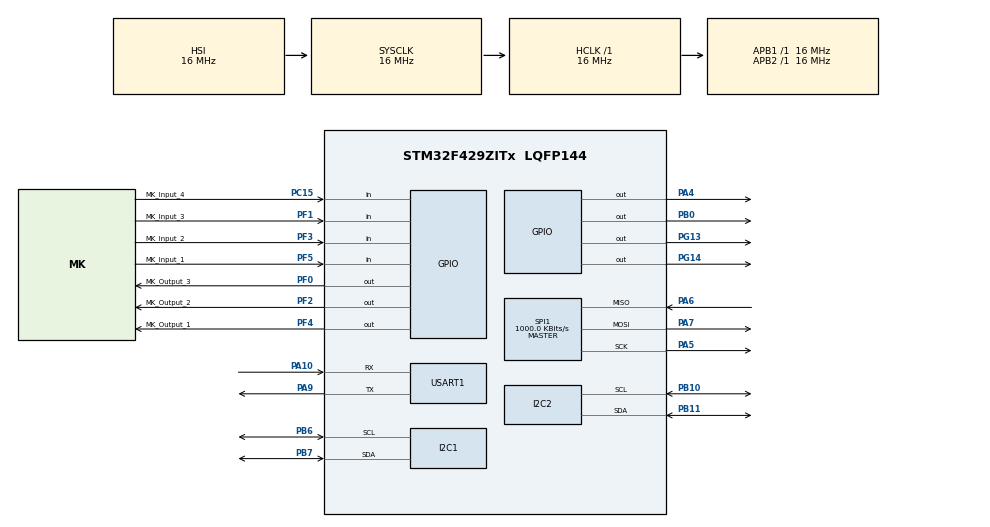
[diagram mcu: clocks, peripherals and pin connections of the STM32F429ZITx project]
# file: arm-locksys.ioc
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I2C1.I2C_Mode=I2C_Standard
Mcu.Family=STM32F4
Mcu.Name=STM32F429ZITx
Mcu.Package=LQFP144
NVIC.PriorityGroup=NVIC_PRIORITYGROUP_4
NVIC.SPI1_IRQn=true\:0\:0\:false\:false\:true\:true\:true\:true
NVIC.USART1_IRQn=true\:0\:0\:false\:false\:true\:true\:true\:true
PA10.Mode=Asynchronous
PA10.Signal=USART1_RX
PA13.Mode=Serial_Wire
PA13.Signal=SYS_JTMS-SWDIO
PA14.Mode=Serial_Wire
PA14.Signal=SYS_JTCK-SWCLK
PA4.Signal=GPIO_Output
PA5.Mode=Full_Duplex_Master
PA5.Signal=SPI1_SCK
PA6.Mode=Full_Duplex_Master
PA6.Signal=SPI1_MISO
PA7.Mode=Full_Duplex_Master
PA7.Signal=SPI1_MOSI
PA9.Mode=Asynchronous
PA9.Signal=USART1_TX
PB0.Signal=GPIO_Output
PB10.Mode=I2C
PB10.Signal=I2C2_SCL
PB11.Mode=I2C
PB11.Signal=I2C2_SDA
PB6.Mode=I2C
PB6.Signal=I2C1_SCL
PB7.Mode=I2C
PB7.Signal=I2C1_SDA
PC15/OSC32_OUT.GPIO_Label=MK_Input_4
PC15/OSC32_OUT.GPIO_PuPd=GPIO_PULLDOWN
PC15/OSC32_OUT.Signal=GPIO_Input
PF0.GPIO_Label=MK_Output_3
PF0.GPIO_PuPd=GPIO_NOPULL
PF0.GPIO_Speed=GPIO_SPEED_FREQ_VERY_HIGH
PF0.Signal=GPIO_Output
PF1.GPIO_Label=MK_Input_3
PF1.GPIO_PuPd=GPIO_PULLDOWN
PF1.Signal=GPIO_Input
PF2.GPIO_Label=MK_Output_2
PF2.GPIO_PuPd=GPIO_NOPULL
PF2.GPIO_Speed=GPIO_SPEED_FREQ_VERY_HIGH
PF2.Signal=GPIO_Output
PF3.GPIO_Label=MK_Input_2
PF3.GPIO_PuPd=GPIO_PULLDOWN
PF3.Signal=GPIO_Input
PF4.GPIO_Label=MK_Output_1
PF4.GPIO_PuPd=GPIO_NOPULL
PF4.GPIO_Speed=GPIO_SPEED_FREQ_VERY_HIGH
PF4.PinState=GPIO_PIN_RESET
PF4.Signal=GPIO_Output
PF5.GPIO_Label=MK_Input_1
PF5.GPIO_PuPd=GPIO_PULLDOWN
PF5.Signal=GPIO_Input
PG13.Signal=GPIO_Output
PG14.Signal=GPIO_Output
PH0/OSC_IN.Mode=HSE-External-Oscillator
PH0/OSC_IN.Signal=RCC_OSC_IN
PH1/OSC_OUT.Mode=HSE-External-Oscillator
PH1/OSC_OUT.Signal=RCC_OSC_OUT
ProjectManager.HeapSize=0x200
ProjectManager.StackSize=0x400
ProjectManager.TargetToolchain=STM32CubeIDE
RCC.AHBFreq_Value=16000000
RCC.APB1Freq_Value=16000000
RCC.APB2Freq_Value=16000000
RCC.CortexFreq_Value=16000000
RCC.HSE_VALUE=25000000
RCC.HSI_VALUE=16000000
RCC.LSE_VALUE=32768
RCC.SYSCLKFreq_VALUE=16000000
RCC.VCOOutputFreq_Value=192000000
SPI1.BaudRatePrescaler=SPI_BAUDRATEPRESCALER_16
SPI1.CalculateBaudRate=1000.0 KBits/s
SPI1.Direction=SPI_DIRECTION_2LINES
SPI1.Mode=SPI_MODE_MASTER
SPI1.VirtualType=VM_MASTER
USART1.VirtualMode=VM_ASYNC
board=custom

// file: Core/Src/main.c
/* USER CODE BEGIN Header */
/**
  ******************************************************************************
  * @file           : main.c
  * @brief          : Main program body
  ******************************************************************************
  * @attention
  *
  * Copyright (c) 2024 STMicroelectronics.
  * All rights reserved.
  *
  * This software is licensed under terms that can be found in the LICENSE file
  * in the root directory of this software component.
  * If no LICENSE file comes with this software, it is provided AS-IS.
  *
  ******************************************************************************
  */
/* USER CODE END Header */
#include "main.h"
#include "i2c.h"
#include "spi.h"
#include "usart.h"
#include "gpio.h"
#include "stm32f4xx_ll_gpio.h"
#include "stm32f4xx_ll_bus.h"

/* USER CODE BEGIN PD */
#define ESCAPE_WHITE   "\033[37m"
#define ESCAPE_GREEN   "\033[32m"
#define ESCAPE_YELLOW  "\033[33m"
#define ESCAPE_RED     "\033[31m"

#define DS3231_ADDRESS 0xD0
#define ESP8266_ADDRESS 0X00

/* USER CODE END PD */

void SystemClock_Config(void);

/* USER CODE BEGIN 0 */

uint8_t tx_data[100] = ESCAPE_GREEN "\n\r<¨¨Locksys¨¨> - " ESCAPE_WHITE __TIME__ ESCAPE_GREEN "\n\r\n\r";
uint8_t spi_RFID[100];
uint8_t last_pin[1] = "e";
uint8_t rx_data[4];
uint8_t code[4] = "1122";
uint8_t code_keypad[4] = "    ";
int code_keypad_index = 0;
uint8_t en_keypad = 1;
uint8_t temperature;
/*
 * Structure for storing and managing the time value read from the RTC module
 */
typedef struct Time {
	uint8_t second;
	uint8_t minute;
	uint8_t hour;
	uint8_t day;
	uint8_t week;
	uint8_t month;
	uint8_t year;
} Time;

struct Time time;

/*
 * Set the current time in rtc module
 */
void set_time(uint8_t sec, uint8_t min, uint8_t h, uint8_t d, uint8_t w, uint8_t m, uint8_t y) {
	uint8_t set[7];
	set[0] = dec_to_bcd(sec);
	set[1] = dec_to_bcd(min);
	set[2] = dec_to_bcd(h);
	set[3] = dec_to_bcd(d);
	set[4] = dec_to_bcd(w);
	set[5] = dec_to_bcd(m);
	set[6] = dec_to_bcd(y);

	HAL_I2C_Mem_Write(&hi2c1, DS3231_ADDRESS, 0x00, 1, set, 7, 1000);
}

/*
 * Get current time from RTC module
 */
void get_time() {
	uint8_t get[7];
	HAL_I2C_Mem_Read(&hi2c1, DS3231_ADDRESS, 0x00, 1, get, 7, 1000);

	uint8_t t[1];
	HAL_I2C_Mem_Read(&hi2c1, DS3231_ADDRESS, 0x11, 1, t, 7, 1000);
	temperature = bcd_to_dec(t[1]);

	time.second = bcd_to_dec(get[1]);
	time.minute = bcd_to_dec(get[2]);
	time.hour = bcd_to_dec(get[3]);
	time.day = bcd_to_dec(get[4]);
	time.week = bcd_to_dec(get[5]);
	time.month = bcd_to_dec(get[6]);
	time.year = bcd_to_dec(get[7]);
}

/* USER CODE END 0 */

int main(void)
{

  /* MCU Configuration--------------------------------------------------------*/

  /* Reset of all peripherals, Initializes the Flash interface and the Systick. */
  HAL_Init();

  /* Configure the system clock */
  SystemClock_Config();

  /* Initialize all configured peripherals */
  MX_GPIO_Init();
  MX_USART1_UART_Init();
  MX_I2C1_Init();
  MX_SPI1_Init();
  MX_I2C2_Init();
  /* USER CODE BEGIN 2 */

  // USART
  HAL_UART_Receive_IT(&huart1, rx_data, sizeof(rx_data));
  HAL_UART_Transmit(&huart1, tx_data, sizeof(tx_data), 1000);

  // RFID
  //uint8_t reset = "15";
  //HAL_SPI_Transmit(&hspi1, &reset, sizeof(reset), 1000);
  uint8_t receive = 8;
  HAL_SPI_Transmit(&hspi1, &receive, sizeof(receive), 1000);

  // LED
  HAL_GPIO_TogglePin(GPIOG, GPIO_PIN_14);

  // RTC
  //set_time(0, 3, 19, 5, 17, 5, 24);

  // Keypad
  HAL_GPIO_WritePin(GPIOF, MK_Output_1_Pin, GPIO_PIN_SET);
  HAL_GPIO_WritePin(GPIOF, MK_Output_2_Pin, GPIO_PIN_SET);
  HAL_GPIO_WritePin(GPIOF, MK_Output_3_Pin, GPIO_PIN_SET);

  /* USER CODE END 2 */

  /* Infinite loop */
  /* USER CODE BEGIN WHILE */
  while (1)
  {
	  if (en_keypad == 1) {	// If enabled, read keypad by polling for a result
		  keypad_read();
	  }

	  get_time();

	  //MFRC522_read();

	  HAL_Delay(120);
    /* USER CODE END WHILE */

  }
}

void SystemClock_Config(void)
{
  RCC_OscInitTypeDef RCC_OscInitStruct = {0};
  RCC_ClkInitTypeDef RCC_ClkInitStruct = {0};

  /** Configure the main internal regulator output voltage
  */
  __HAL_RCC_PWR_CLK_ENABLE();
  __HAL_PWR_VOLTAGESCALING_CONFIG(PWR_REGULATOR_VOLTAGE_SCALE3);

  /** Initializes the RCC Oscillators according to the specified parameters
  * in the RCC_OscInitTypeDef structure.
  */
  RCC_OscInitStruct.OscillatorType = RCC_OSCILLATORTYPE_HSI;
  RCC_OscInitStruct.HSIState = RCC_HSI_ON;
  RCC_OscInitStruct.HSICalibrationValue = RCC_HSICALIBRATION_DEFAULT;
  RCC_OscInitStruct.PLL.PLLState = RCC_PLL_NONE;
  if (HAL_RCC_OscConfig(&RCC_OscInitStruct) != HAL_OK)
  {
    Error_Handler();
  }

  /** Initializes the CPU, AHB and APB buses clocks
  */
  RCC_ClkInitStruct.ClockType = RCC_CLOCKTYPE_HCLK|RCC_CLOCKTYPE_SYSCLK
                              |RCC_CLOCKTYPE_PCLK1|RCC_CLOCKTYPE_PCLK2;
  RCC_ClkInitStruct.SYSCLKSource = RCC_SYSCLKSOURCE_HSI;
  RCC_ClkInitStruct.AHBCLKDivider = RCC_SYSCLK_DIV1;
  RCC_ClkInitStruct.APB1CLKDivider = RCC_HCLK_DIV1;
  RCC_ClkInitStruct.APB2CLKDivider = RCC_HCLK_DIV1;

  if (HAL_RCC_ClockConfig(&RCC_ClkInitStruct, FLASH_LATENCY_0) != HAL_OK)
  {
    Error_Handler();
  }
}

/* USER CODE BEGIN 4 */

/*
 * Function for conversion from (int) to (uint8_t)
 * @param1 - the value to be converted
 * @returns - the converted value
 */
uint8_t dec_to_bcd(int value) {
	return (uint8_t)((value / 10 * 16) + (value % 10));
}
/*
 * Function for conversion from (uint8_t) to (int)
 * @param1 - the value to be converted
 * @returns - the converted value
 */
int bcd_to_dec(uint8_t value) {
	return (int)((value / 16 * 10) + (value % 16));
}

/*
 * Reads which button is pressed on the keypad, by pulling each row high exclusively,
 * 		and reading whether we get an input signal from any of the connected input wires.
 */
void keypad_read() {
	LL_GPIO_SetPinMode(GPIOF, MK_Output_1_Pin, LL_GPIO_MODE_OUTPUT);
	LL_GPIO_SetPinMode(GPIOF, MK_Output_2_Pin, LL_GPIO_MODE_INPUT);
	LL_GPIO_SetPinMode(GPIOF, MK_Output_3_Pin, LL_GPIO_MODE_INPUT);

	uint8_t pin[1] = "e";

	if (HAL_GPIO_ReadPin(GPIOF, MK_Input_1_Pin) == GPIO_PIN_SET)
	{
		pin[0] = '1';
	} else
	if (HAL_GPIO_ReadPin(GPIOF, MK_Input_2_Pin) == GPIO_PIN_SET)
	{
		pin[0] = '4';
	} else
	if (HAL_GPIO_ReadPin(GPIOF, MK_Input_3_Pin) == GPIO_PIN_SET)
	{
		pin[0] = '7';
	} else
	if (HAL_GPIO_ReadPin(MK_Input_4_GPIO_Port, MK_Input_4_Pin) == GPIO_PIN_SET)
	{
		//pin[0] = '*';
		check_code(code_keypad);
		for (int i = 0; i < 4; i++) {
			code_keypad[i] = " ";
		}
		code_keypad_index = 0;
		return;
	}

	LL_GPIO_SetPinMode(GPIOF, MK_Output_1_Pin, LL_GPIO_MODE_INPUT);
	LL_GPIO_SetPinMode(GPIOF, MK_Output_2_Pin, LL_GPIO_MODE_OUTPUT);
	LL_GPIO_SetPinMode(GPIOF, MK_Output_3_Pin, LL_GPIO_MODE_INPUT);

	if (HAL_GPIO_ReadPin(GPIOF, MK_Input_1_Pin) == GPIO_PIN_SET)
	{
		pin[0] = '2';
	} else
	if (HAL_GPIO_ReadPin(GPIOF, MK_Input_2_Pin) == GPIO_PIN_SET)
	{
		pin[0] = '5';
	} else
	if (HAL_GPIO_ReadPin(GPIOF, MK_Input_3_Pin) == GPIO_PIN_SET)
	{
		pin[0] = '8';
	} else
	if (HAL_GPIO_ReadPin(MK_Input_4_GPIO_Port, MK_Input_4_Pin) == GPIO_PIN_SET)
	{
		pin[0] = '0';
	}

	LL_GPIO_SetPinMode(GPIOF, MK_Output_1_Pin, LL_GPIO_MODE_INPUT);
	LL_GPIO_SetPinMode(GPIOF, MK_Output_2_Pin, LL_GPIO_MODE_INPUT);
	LL_GPIO_SetPinMode(GPIOF, MK_Output_3_Pin, LL_GPIO_MODE_OUTPUT);

	if (HAL_GPIO_ReadPin(GPIOF, MK_Input_1_Pin) == GPIO_PIN_SET)
	{
		pin[0] = '3';
	} else
	if (HAL_GPIO_ReadPin(GPIOF, MK_Input_2_Pin) == GPIO_PIN_SET)
	{
		pin[0] = '6';
	} else
	if (HAL_GPIO_ReadPin(GPIOF, MK_Input_3_Pin) == GPIO_PIN_SET)
	{
		pin[0] = '9';
	} else
	if (HAL_GPIO_ReadPin(MK_Input_4_GPIO_Port, MK_Input_4_Pin) == GPIO_PIN_SET)
	{
		//pin[0] = '#';
		for (int i = 0; i < 4; i++) {
			code_keypad[i] = " ";
		}
		code_keypad_index = 0;
		uint8_t response[40] = ESCAPE_GREEN " Keypad input deleted\n\r";
		HAL_UART_Transmit(&huart1, response, sizeof(response), 1000);
		return;
	}

	if (pin[0] != 'e') {
		last_pin[0] = pin[0];
		uint8_t message[40] = ESCAPE_YELLOW " -> PIN: - " ESCAPE_WHITE;
		uint8_t messageEnd[40] = "\n\r";
		HAL_UART_Transmit(&huart1, message, sizeof(message), 1000);
		HAL_UART_Transmit(&huart1, pin, sizeof(pin), 1000);
		HAL_UART_Transmit(&huart1, messageEnd, sizeof(messageEnd), 1000);

		code_keypad[code_keypad_index] = pin[0];
		code_keypad_index++;
		if (code_keypad_index > 3)
			code_keypad_index = 0;
		//HAL_UART_Transmit(&huart1, code_keypad, sizeof(code_keypad), 1000);
	}

	return;
}
/*
 * Toggles the open/closed status of the system (observe board for reference)
 * GREEN: open
 * RED: closed
 */
void toggleLock() {
	HAL_GPIO_TogglePin(GPIOG, GPIO_PIN_13);
	HAL_GPIO_TogglePin(GPIOG, GPIO_PIN_14);
	uint8_t message[7] = "toggled";
	HAL_I2C_Master_Transmit(&hi2c2, ESP8266_ADDRESS, message, sizeof(message), 1000);
}

void check_code(uint8_t * data)  {
	int correctCode = 1;		// Check whether the UART input is the correct keycode
	for (int i = 0; i < 4; i++) {
		if (data[i] != code[i]) {
			correctCode = 0;
		}
	}

	if (correctCode == 1) {
		uint8_t response[20] = ESCAPE_GREEN " Correct\n\r";
		HAL_UART_Transmit(&huart1, response, sizeof(response), 1000);
		toggleLock();
	} else {
		uint8_t response[20] = ESCAPE_RED " Incorrect\n\r";
		HAL_UART_Transmit(&huart1, response, sizeof(response), 1000);
	}
}

/*
 * Interrupt handler for UART RX
 * Processes input from COM, prints the current time by reading the RTC's correct register
 * @param1 - The handler of the defined UART entity
 */
void HAL_UART_RxCpltCallback(UART_HandleTypeDef *huart)
{
	HAL_UART_Receive_IT(&huart1, rx_data, sizeof(rx_data));		// Receive data via UART
	//HAL_UART_Transmit(&huart1, rx_data, sizeof(rx_data), 1000);

	uint8_t message[40] = ESCAPE_YELLOW " -> Interrupt - COM - " ESCAPE_WHITE;
	uint8_t messageEnd[10] = "\n\r";
	uint8_t demarcator[5] = ":";

	get_time();		// Get and print current time via RTC module
	HAL_UART_Transmit(&huart1, message, sizeof(message), 1000);
	//HAL_UART_Transmit(&huart1, time.hour, 10, 1000);
	HAL_UART_Transmit(&huart1, demarcator, sizeof(demarcator), 1000);
	//HAL_UART_Transmit(&huart1, &time.minute, 10, 1000);
	HAL_UART_Transmit(&huart1, demarcator, sizeof(demarcator), 1000);
	//HAL_UART_Transmit(&huart1, &time.second, 10, 1000);
	HAL_UART_Transmit(&huart1, messageEnd, sizeof(messageEnd), 1000);

	int en_keypad_code = 1;		// Check whether the UART input is the correct code for toggling input from keypad
	for (int i = 0; i < 4; i++) {
		if (rx_data[i] != '0') {
			en_keypad_code = 0;
		}
	}
	if (en_keypad_code == 1) {
		if (en_keypad == 1) {
			en_keypad = 0;
		}
		else en_keypad = 1;
		uint8_t response[40] = ESCAPE_GREEN " Keypad toggled - " ESCAPE_WHITE __TIME__ "\n\r" ;
		HAL_UART_Transmit(&huart1, response, sizeof(response), 1000);
		return;
	}

	check_code(rx_data);
	return;
}

/*
 * Interrupt handler for SPI RX
 * Processes input from RFID
 * @param1 - The handler of the defined SPI entity
 */
void HAL_SPI_RxCpltCallback(SPI_HandleTypeDef * hspi)
{
	HAL_SPI_Receive_IT(&hspi1, spi_RFID, sizeof(spi_RFID));		// Receive data via SPI

	//HAL_UART_Transmit(&hspi1, spi_RFID, sizeof(spi_RFID), 1000);
	uint8_t message[40] = ESCAPE_YELLOW " -> Interrupt - RFID - " ESCAPE_WHITE __TIME__ "\n\r";
	HAL_UART_Transmit(&huart1, message, sizeof(message), 1000);
}
/* USER CODE END 4 */

void Error_Handler(void)
{
  __disable_irq();
  while (1)
  {
  }
}
